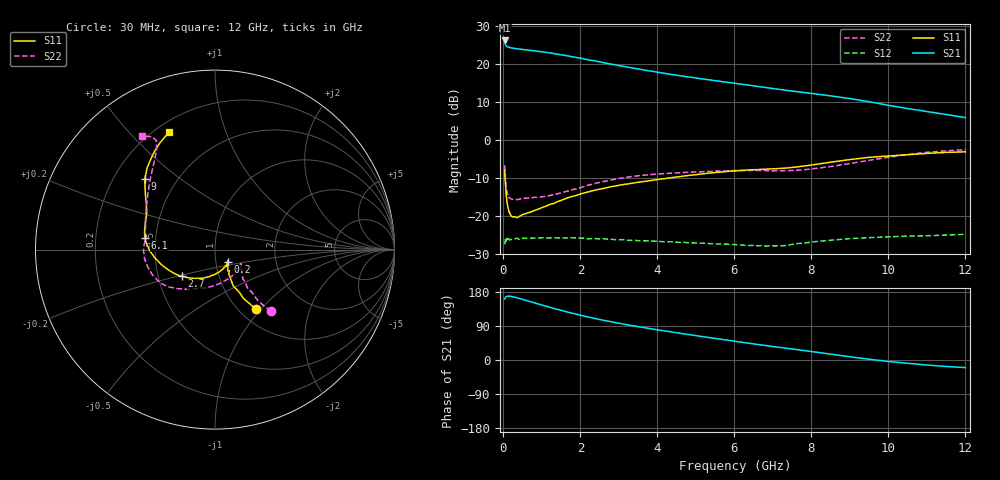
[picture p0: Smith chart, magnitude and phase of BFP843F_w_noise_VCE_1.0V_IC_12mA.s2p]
! Infineon Technologies  Discrete & RF Semiconductors
! BFP843F
! VCE =  1.0 V,  IC =  12 mA
! Common Emitter S-Parameters:  Aug 2013
# GHz  S  MA  R  50
!  f  S11  S21  S12  S22
! GHz  MAG  ANG  MAG  ANG  MAG  ANG  MAG  ANG
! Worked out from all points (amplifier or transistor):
!   103 points, 30 MHz to 12 GHz, reference 50 ohm
!   highest |S21| = 26.3 dB at 30 MHz (marker M1)
!   |S21| within 3 dB of that: start of sweep to 999.8 MHz
!   unconditionally stable (mu >= 1): 149 MHz to 1.163 GHz; 1.485 GHz to 1.51 GHz; 1.877 GHz to end of sweep (the widest 3 of 4)
!   at 400 MHz: K = 1.02, MAG = 24.4 dB, |S12| = -26.2 dB
!   at 3.7 GHz: K = 1.14, MAG = 20.2 dB, |S12| = -26.6 dB
!   at 12 GHz: K = 1.33, MAG = 11.9 dB, |S12| = -24.9 dB
!   lowest NFmin = 0.81 dB at 450 MHz
!   S11 on the Smith chart (normalised r, x): 30 MHz: 1.19, -0.93; 200 MHz: 1.14, -0.16; 2.7 GHz: 0.66, -0.21; 6.1 GHz: 0.44, +0.07; 9 GHz: 0.33, +0.37; 12 GHz: 0.25, +0.65
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0.03  0.4005 -55.6  20.6 161.1  0.0422 28.5  0.4635 -48.0
0.04  0.3154 -59.7  19.2 162.4  0.0444 23.3  0.3719 -50.0
0.05  0.2715 -60.4  18.28 165.2  0.0482 23.6  0.3192 -49.2
0.07  0.1914 -62.3  17.53 167.0  0.0465 12.3  0.2497 -47.1
0.08  0.1722 -61.0  17.36 167.6  0.0492 13.1  0.2261 -46.5
0.13  0.1224 -54.0  16.8 168.6  0.0504 7.0  0.1784 -36.6
0.2  0.0992 -44.8  16.43 167.7  0.0489 6.5  0.1674 -29.6
0.6  0.1081 -55.9  15.47 156.9  0.0507 2.7  0.1718 -41.2
0.9  0.1225 -75.2  14.82 147.9  0.0511 1.2  0.1753 -59.2
1.2  0.1414 -92.6  14.12 139.3  0.0513 0.4  0.1854 -76.8
1.6  0.1678 -110.8  13.09 128.3  0.0513 -0.9  0.2088 -97.1
2.1  0.2011 -127.5  11.76 115.8  0.0508 -2.5  0.2438 -116.6
2.7  0.2368 -141.3  10.26 102.8  0.0494 -2.7  0.2899 -131.3
3.4  0.2729 -153.4  8.847 89.7  0.0476 -4.1  0.3347 -142.2
4.1  0.307 -163.6  7.721 78.1  0.0459 -3.5  0.359 -150.4
5  0.3503 -175.7  6.599 64.3  0.044 -2.4  0.3794 -160.9
6.1  0.3958 170.4  5.53 48.2  0.0414 0.7  0.3956 -174.4
7  0.4177 157.5  4.79 35.6  0.0403 7.9  0.3932 174.0
8.5  0.5111 139.6  3.829 15.5  0.0478 14.9  0.4478 149.0
9  0.5537 135.0  3.527 8.6  0.0502 14.4  0.4907 139.5
10.5  0.6417 121.8  2.606 -8.7  0.0542 14.5  0.6443 120.3
12  0.7003 111.3  1.98 -20.0  0.0572 17.4  0.7499 122.6
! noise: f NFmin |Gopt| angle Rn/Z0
0.45  0.81  0.02  23  0.02
0.9  0.82  0.03  51  0.02
1.5  0.85  0.03  71  0.03
1.9  0.9  0.04  97  0.04
2.4  0.94  0.05  115  0.05
3.5  0.99  0.08  142  0.11
5.5  1.1  0.16  -167  0.19
10  1.65  0.36  -112  0.29
